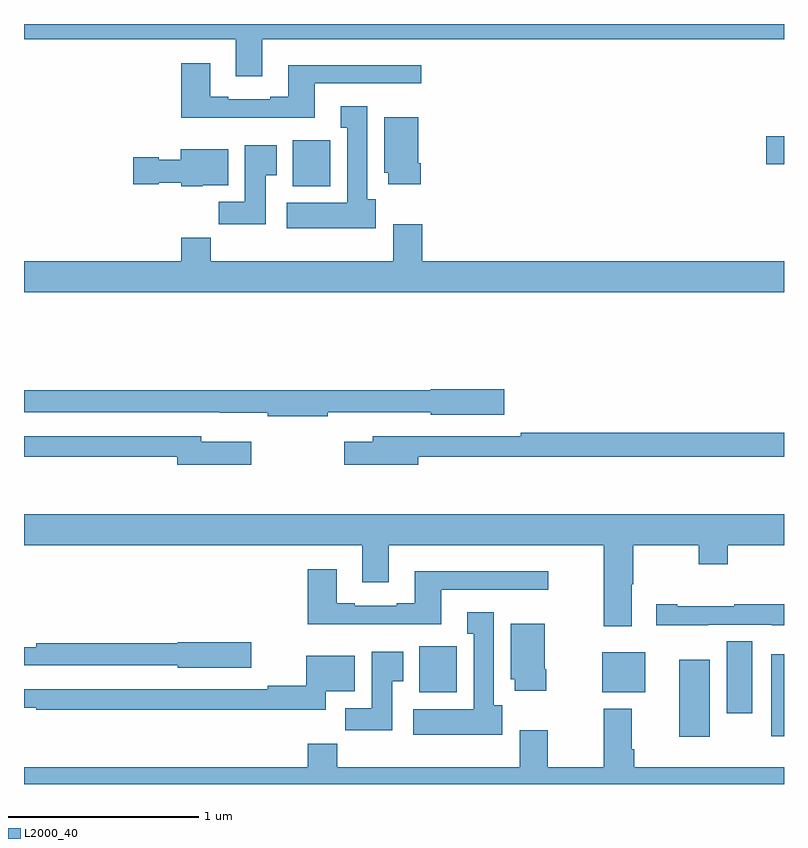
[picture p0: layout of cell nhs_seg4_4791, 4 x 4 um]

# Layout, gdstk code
import gdstk
lib = gdstk.Library(unit=1e-6, precision=1e-09)
def R(c, l, rs):  # rectangles x0, y0, x1, y1
    for r in rs: c.add(gdstk.rectangle(r[:2], r[2:], *l))
def P(c, l, *ps):  # polygons
    for p in ps: c.add(gdstk.Polygon(p, *l))
L2000_40 = (2000, 40)

nhs_seg4_4791 = lib.new_cell('nhs_seg4_4791')
R(nhs_seg4_4791, L2000_40, [(372.449,793.149,372.61,793.555), (372.932,793.152,373,793.582), (372.698,793.272,372.832,793.652), (371.081,793.382,371.278,793.624), (372.044,793.382,372.271,793.594), (370.415,796.046,370.612,796.288), (372.906,796.163,373,796.31)])
P(nhs_seg4_4791, L2000_40, [(370.255,796.82),(373,796.82),(373,796.9),(369,796.9),(369,796.82),(370.115,796.82),(370.115,796.626),(370.255,796.626)],
  [(370.531,796.587),(371.092,796.587),(371.092,796.684),(370.391,796.684),(370.391,796.516),(370.295,796.516),(370.295,796.503),(370.075,796.503),(370.075,796.516),(369.979,796.516),(369.979,796.693),(369.827,796.693),(369.827,796.406),(370.531,796.406)],
  [(370.852,795.978),(370.807,795.978),(370.807,796.468),(370.667,796.468),(370.667,796.355),(370.7,796.355),(370.7,795.958),(370.383,795.958),(370.383,795.824),(370.852,795.824)],
  [(371.087,796.168),(371.074,796.168),(371.074,796.408),(370.895,796.408),(370.895,796.116),(370.916,796.116),(370.916,796.056),(371.087,796.056)],
  [(370.273,796.105),(370.33,796.105),(370.33,796.261),(370.163,796.261),(370.163,795.964),(370.024,795.964),(370.024,795.846),(370.273,795.846)],
  [(369.942,796.052),(370.075,796.052),(370.075,796.24),(369.824,796.24),(369.824,796.186),(369.708,796.186),(369.708,796.199),(369.576,796.199),(369.576,796.057),(369.708,796.057),(369.708,796.064),(369.828,796.064),(369.828,796.046),(369.942,796.046)],
  [(373,795.652),(371.096,795.652),(371.096,795.847),(370.943,795.847),(370.943,795.652),(369.983,795.652),(369.983,795.776),(369.827,795.776),(369.827,795.652),(369,795.652),(369,795.488),(373,795.488)],
  [(370.598,794.856),(371.142,794.856),(371.142,794.843),(371.527,794.843),(371.527,794.978),(371.142,794.978),(371.142,794.972),(369,794.972),(369,794.856),(370.03,794.856),(370.03,794.855),(370.282,794.855),(370.282,794.836),(370.598,794.836)],
  [(371.074,794.622),(373,794.622),(373,794.75),(371.614,794.75),(371.614,794.73),(370.835,794.73),(370.835,794.701),(370.686,794.701),(370.686,794.579),(371.074,794.579)],
  [(370.195,794.701),(369.934,794.701),(369.934,794.73),(369,794.73),(369,794.622),(369.806,794.622),(369.806,794.579),(370.195,794.579)],
  [(372.199,793.952),(372.207,793.952),(372.207,794.156),(372.55,794.156),(372.55,794.057),(372.705,794.057),(372.705,794.156),(373,794.156),(373,794.32),(369,794.32),(369,794.156),(370.781,794.156),(370.781,793.962),(370.921,793.962),(370.921,794.156),(372.052,794.156),(372.052,793.731),(372.199,793.731)],
  [(371.197,793.923),(371.758,793.923),(371.758,794.02),(371.057,794.02),(371.057,793.852),(370.961,793.852),(370.961,793.839),(370.741,793.839),(370.741,793.852),(370.645,793.852),(370.645,794.029),(370.493,794.029),(370.493,793.742),(371.197,793.742)],
  [(372.602,793.737),(372.936,793.737),(372.936,793.736),(373,793.736),(373,793.846),(372.739,793.846),(372.739,793.836),(372.439,793.836),(372.439,793.846),(372.327,793.846),(372.327,793.736),(372.602,793.736)],
  [(371.518,793.314),(371.473,793.314),(371.473,793.804),(371.333,793.804),(371.333,793.691),(371.366,793.691),(371.366,793.294),(371.049,793.294),(371.049,793.16),(371.518,793.16)],
  [(371.748,793.504),(371.74,793.504),(371.74,793.744),(371.561,793.744),(371.561,793.452),(371.582,793.452),(371.582,793.392),(371.748,793.392)],
  [(370.195,793.646),(369.81,793.646),(369.81,793.64),(369.064,793.64),(369.064,793.621),(369,793.621),(369,793.524),(369.81,793.524),(369.81,793.511),(370.195,793.511)],
  [(370.939,793.441),(370.996,793.441),(370.996,793.597),(370.829,793.597),(370.829,793.3),(370.69,793.3),(370.69,793.182),(370.939,793.182)],
  [(370.587,793.388),(370.741,793.388),(370.741,793.576),(370.486,793.576),(370.486,793.418),(370.282,793.418),(370.282,793.398),(369,793.398),(369,793.302),(369.064,793.302),(369.064,793.29),(370.587,793.29)],
  [(373,792.988),(372.212,792.988),(372.212,793.084),(372.199,793.084),(372.199,793.297),(372.052,793.297),(372.052,792.988),(371.757,792.988),(371.757,793.183),(371.609,793.183),(371.609,792.988),(370.649,792.988),(370.649,793.112),(370.493,793.112),(370.493,792.988),(369,792.988),(369,792.9),(373,792.9)])

lib.write_gds('nhs_seg4_4791.gds')
